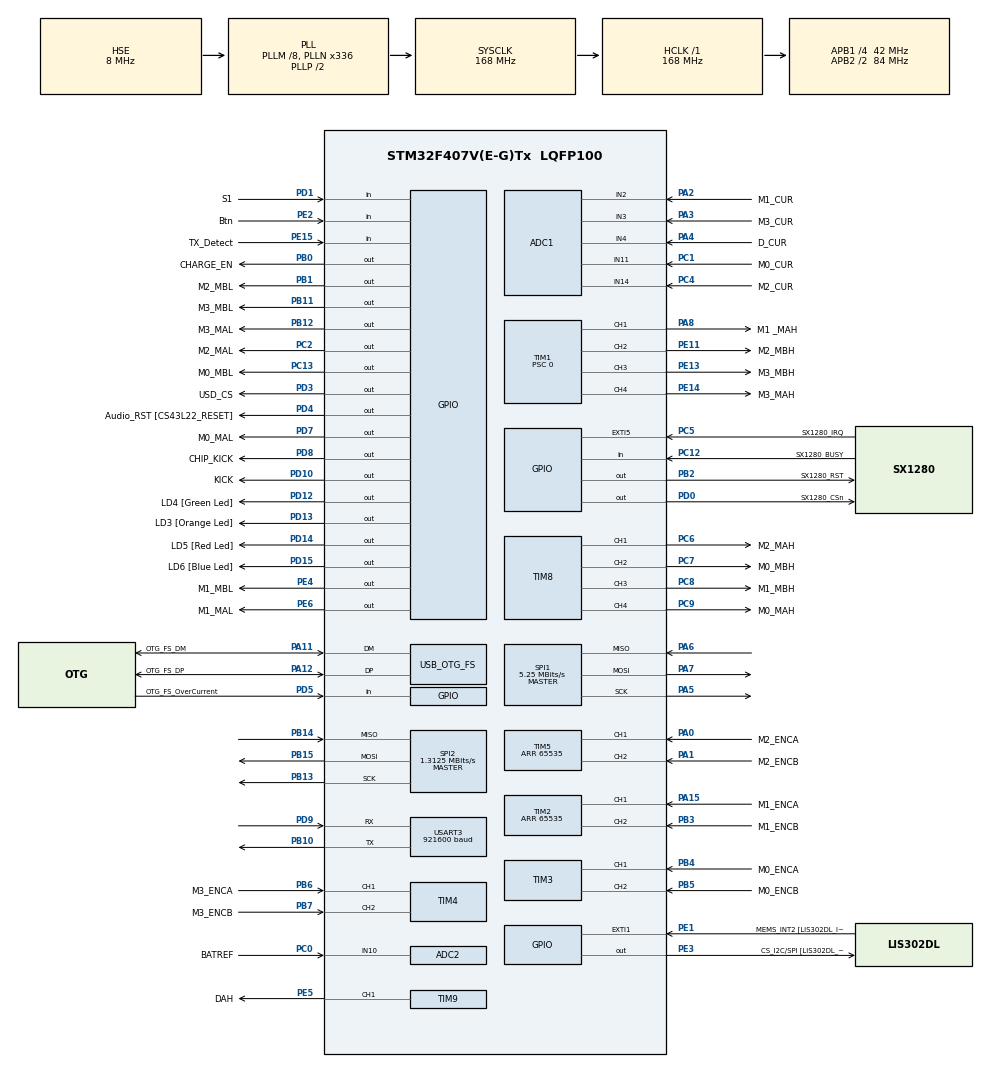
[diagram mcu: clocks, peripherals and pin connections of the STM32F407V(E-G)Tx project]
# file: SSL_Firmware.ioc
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ADC1.Channel-2\#ChannelRegularConversion=ADC_CHANNEL_11
ADC1.NbrOfConversionFlag=1
ADC1.Rank-2\#ChannelRegularConversion=1
ADC1.SamplingTime-2\#ChannelRegularConversion=ADC_SAMPLETIME_3CYCLES
ADC1.master=1
ADC2.Channel-1\#ChannelRegularConversion=ADC_CHANNEL_10
ADC2.NbrOfConversionFlag=1
ADC2.Rank-1\#ChannelRegularConversion=1
ADC2.SamplingTime-1\#ChannelRegularConversion=ADC_SAMPLETIME_3CYCLES
Dma.Request0=USART3_RX
Dma.Request1=USART3_TX
Dma.USART3_RX.0.Direction=DMA_PERIPH_TO_MEMORY
Dma.USART3_RX.0.FIFOMode=DMA_FIFOMODE_DISABLE
Dma.USART3_RX.0.Instance=DMA1_Stream1
Dma.USART3_RX.0.MemDataAlignment=DMA_MDATAALIGN_BYTE
Dma.USART3_RX.0.MemInc=DMA_MINC_ENABLE
Dma.USART3_RX.0.Mode=DMA_NORMAL
Dma.USART3_RX.0.PeriphDataAlignment=DMA_PDATAALIGN_BYTE
Dma.USART3_RX.0.PeriphInc=DMA_PINC_DISABLE
Dma.USART3_RX.0.Priority=DMA_PRIORITY_LOW
Dma.USART3_TX.1.Direction=DMA_MEMORY_TO_PERIPH
Dma.USART3_TX.1.FIFOMode=DMA_FIFOMODE_DISABLE
Dma.USART3_TX.1.Instance=DMA1_Stream3
Dma.USART3_TX.1.MemDataAlignment=DMA_MDATAALIGN_BYTE
Dma.USART3_TX.1.MemInc=DMA_MINC_ENABLE
Dma.USART3_TX.1.Mode=DMA_NORMAL
Dma.USART3_TX.1.PeriphDataAlignment=DMA_PDATAALIGN_BYTE
Dma.USART3_TX.1.PeriphInc=DMA_PINC_DISABLE
Dma.USART3_TX.1.Priority=DMA_PRIORITY_LOW
Mcu.Family=STM32F4
Mcu.Name=STM32F407V(E-G)Tx
Mcu.Package=LQFP100
NVIC.DMA1_Stream1_IRQn=true\:0\:0\:false\:false\:true\:false\:true\:true
NVIC.DMA1_Stream3_IRQn=true\:0\:0\:false\:false\:true\:false\:true\:true
NVIC.EXTI9_5_IRQn=true\:1\:0\:true\:false\:true\:true\:true\:true
NVIC.OTG_FS_IRQn=true\:1\:0\:true\:false\:true\:true\:true\:true
NVIC.PriorityGroup=NVIC_PRIORITYGROUP_4
NVIC.SPI1_IRQn=true\:0\:0\:false\:false\:true\:true\:true\:true
NVIC.TIM1_UP_TIM10_IRQn=true\:0\:0\:false\:false\:true\:true\:true\:true
NVIC.TIM6_DAC_IRQn=true\:2\:0\:true\:false\:true\:true\:true\:true
NVIC.TIM7_IRQn=true\:0\:0\:false\:false\:true\:true\:true\:true
NVIC.TIM8_TRG_COM_TIM14_IRQn=true\:0\:0\:false\:false\:true\:true\:true\:true
NVIC.USART3_IRQn=true\:0\:0\:false\:false\:true\:true\:true\:true
PA0-WKUP.GPIO_Label=M2_ENCA
PA0-WKUP.GPIO_PuPd=GPIO_PULLUP
PA0-WKUP.Signal=S_TIM5_CH1
PA1.GPIO_Label=M2_ENCB
PA1.GPIO_PuPd=GPIO_PULLUP
PA1.Signal=S_TIM5_CH2
PA10.GPIO_Label=OTG_FS_ID
PA10.GPIO_Mode=GPIO_MODE_AF_PP
PA10.GPIO_PuPd=GPIO_NOPULL
PA10.GPIO_Speed=GPIO_SPEED_FREQ_LOW
PA10.Signal=USB_OTG_FS_ID
PA11.GPIO_Label=OTG_FS_DM
PA11.GPIO_Mode=GPIO_MODE_AF_PP
PA11.GPIO_PuPd=GPIO_NOPULL
PA11.GPIO_Speed=GPIO_SPEED_FREQ_LOW
PA11.Mode=Device_Only
PA11.Signal=USB_OTG_FS_DM
PA12.GPIO_Label=OTG_FS_DP
PA12.GPIO_Mode=GPIO_MODE_AF_PP
PA12.GPIO_PuPd=GPIO_NOPULL
PA12.GPIO_Speed=GPIO_SPEED_FREQ_LOW
PA12.Mode=Device_Only
PA12.Signal=USB_OTG_FS_DP
PA13.GPIO_Label=SWDIO
PA13.Mode=Serial_Wire
PA13.Signal=SYS_JTMS-SWDIO
PA14.GPIO_Label=SWCLK
PA14.Mode=Serial_Wire
PA14.Signal=SYS_JTCK-SWCLK
PA15.GPIO_Label=M1_ENCA
PA15.GPIO_PuPd=GPIO_PULLUP
PA15.Signal=S_TIM2_CH1_ETR
PA2.GPIO_Label=M1_CUR
PA2.Signal=ADCx_IN2
PA3.GPIO_Label=M3_CUR
PA3.Signal=ADCx_IN3
PA4.GPIO_Label=D_CUR
PA4.Signal=ADCx_IN4
PA5.Mode=Full_Duplex_Master
PA5.Signal=SPI1_SCK
PA6.GPIO_PuPd=GPIO_NOPULL
PA6.Mode=Full_Duplex_Master
PA6.Signal=SPI1_MISO
PA7.Mode=Full_Duplex_Master
PA7.Signal=SPI1_MOSI
PA8.GPIO_Label=M1 _MAH
PA8.Signal=S_TIM1_CH1
PA9.GPIO_Label=VBUS_FS
PA9.GPIO_Mode=GPIO_MODE_INPUT
PA9.GPIO_PuPd=GPIO_NOPULL
PA9.Signal=USB_OTG_FS_VBUS
PB0.GPIO_Label=CHARGE_EN
PB0.GPIO_ModeDefaultOutputPP=GPIO_MODE_OUTPUT_PP
PB0.GPIO_PuPd=GPIO_NOPULL
PB0.Signal=GPIO_Output
PB1.GPIO_Label=M2_MBL
PB1.Signal=GPIO_Output
PB10.GPIO_PuPd=GPIO_NOPULL
PB10.Mode=Asynchronous
PB10.Signal=USART3_TX
PB11.GPIO_Label=M3_MBL
PB11.Signal=GPIO_Output
PB12.GPIO_Label=M3_MAL
PB12.Signal=GPIO_Output
PB13.Mode=Full_Duplex_Master
PB13.Signal=SPI2_SCK
PB14.Mode=Full_Duplex_Master
PB14.Signal=SPI2_MISO
PB15.Mode=Full_Duplex_Master
PB15.Signal=SPI2_MOSI
PB2.GPIO_Label=SX1280_RST
PB2.Signal=GPIO_Output
PB3.GPIO_Label=M1_ENCB
PB3.GPIO_PuPd=GPIO_PULLUP
PB3.Signal=S_TIM2_CH2
PB4.GPIO_Label=M0_ENCA
PB4.GPIO_PuPd=GPIO_PULLUP
PB4.Signal=S_TIM3_CH1
PB5.GPIO_Label=M0_ENCB
PB5.GPIO_PuPd=GPIO_PULLUP
PB5.Signal=S_TIM3_CH2
PB6.GPIO_Label=M3_ENCA
PB6.GPIO_PuPd=GPIO_PULLUP
PB6.Signal=S_TIM4_CH1
PB7.GPIO_Label=M3_ENCB
PB7.GPIO_PuPd=GPIO_PULLUP
PB7.Signal=S_TIM4_CH2
PC0.GPIO_Label=BATREF
PC0.Signal=ADCx_IN10
PC1.GPIO_Label=M0_CUR
PC1.Signal=ADCx_IN11
PC12.GPIO_Label=SX1280_BUSY
PC12.Signal=GPIO_Input
PC13-ANTI_TAMP.GPIO_Label=M0_MBL
PC13-ANTI_TAMP.Signal=GPIO_Output
PC14-OSC32_IN.GPIO_Label=PC14-OSC32_IN
PC14-OSC32_IN.Mode=LSE-External-Oscillator
PC14-OSC32_IN.Signal=RCC_OSC32_IN
PC15-OSC32_OUT.GPIO_Label=PC15-OSC32_OUT
PC15-OSC32_OUT.Mode=LSE-External-Oscillator
PC15-OSC32_OUT.Signal=RCC_OSC32_OUT
PC2.GPIO_Label=M2_MAL
PC2.Signal=GPIO_Output
PC4.GPIO_Label=M2_CUR
PC4.Signal=ADCx_IN14
PC5.GPIO_Label=SX1280_IRQ
PC5.GPIO_ModeDefaultEXTI=GPIO_MODE_IT_RISING
PC5.Signal=GPXTI5
PC6.GPIO_Label=M2_MAH
PC6.Signal=S_TIM8_CH1
PC7.GPIO_Label=M0_MBH
PC7.Signal=S_TIM8_CH2
PC8.GPIO_Label=M1_MBH
PC8.Signal=S_TIM8_CH3
PC9.GPIO_Label=M0_MAH
PC9.Signal=S_TIM8_CH4
PD0.GPIO_Label=SX1280_CSn
PD0.GPIO_Speed=GPIO_SPEED_FREQ_HIGH
PD0.PinState=GPIO_PIN_SET
PD0.Signal=GPIO_Output
PD1.GPIO_Label=S1
PD1.Signal=GPIO_Input
PD10.GPIO_Label=KICK
PD10.Signal=GPIO_Output
PD12.GPIO_Label=LD4 [Green Led]
PD12.GPIO_PuPd=GPIO_NOPULL
PD12.GPIO_Speed=GPIO_SPEED_FREQ_LOW
PD12.Signal=GPIO_Output
PD13.GPIO_Label=LD3 [Orange Led]
PD13.GPIO_PuPd=GPIO_NOPULL
PD13.GPIO_Speed=GPIO_SPEED_FREQ_LOW
PD13.Signal=GPIO_Output
PD14.GPIO_Label=LD5 [Red Led]
PD14.GPIO_PuPd=GPIO_NOPULL
PD14.GPIO_Speed=GPIO_SPEED_FREQ_LOW
PD14.Signal=GPIO_Output
PD15.GPIO_Label=LD6 [Blue Led]
PD15.GPIO_PuPd=GPIO_NOPULL
PD15.GPIO_Speed=GPIO_SPEED_FREQ_LOW
PD15.Signal=GPIO_Output
PD3.GPIO_Label=USD_CS
PD3.Signal=GPIO_Output
PD4.GPIO_Label=Audio_RST [CS43L22_RESET]
PD4.GPIO_PuPd=GPIO_NOPULL
PD4.GPIO_Speed=GPIO_SPEED_FREQ_LOW
PD4.Signal=GPIO_Output
PD5.GPIO_Label=OTG_FS_OverCurrent
PD5.GPIO_Mode=GPIO_MODE_INPUT
PD5.GPIO_PuPd=GPIO_NOPULL
PD5.Signal=GPIO_Input
PD7.GPIO_Label=M0_MAL
PD7.Signal=GPIO_Output
PD8.GPIO_Label=CHIP_KICK
PD8.Signal=GPIO_Output
PD9.Mode=Asynchronous
PD9.Signal=USART3_RX
PE1.GPIO_Label=MEMS_INT2 [LIS302DL_INT2]
PE1.GPIO_ModeDefaultEXTI=GPIO_MODE_EVT_RISING
PE1.GPIO_PuPd=GPIO_NOPULL
PE1.Signal=GPXTI1
PE11.GPIO_Label=M2_MBH
PE11.Signal=S_TIM1_CH2
PE13.GPIO_Label=M3_MBH
PE13.Signal=S_TIM1_CH3
PE14.GPIO_Label=M3_MAH
PE14.Signal=S_TIM1_CH4
PE15.GPIO_Label=TX_Detect
PE15.GPIO_PuPd=GPIO_PULLUP
PE15.Signal=GPIO_Input
PE2.GPIO_Label=Btn
PE2.GPIO_PuPd=GPIO_PULLUP
PE2.Signal=GPIO_Input
PE3.GPIO_Label=CS_I2C/SPI [LIS302DL_CS_I2C/SPI]
PE3.GPIO_PuPd=GPIO_NOPULL
PE3.GPIO_Speed=GPIO_SPEED_FREQ_LOW
PE3.PinState=GPIO_PIN_SET
PE3.Signal=GPIO_Output
PE4.GPIO_Label=M1_MBL
PE4.Signal=GPIO_Output
PE5.GPIO_Label=DAH
PE5.Signal=S_TIM9_CH1
PE6.GPIO_Label=M1_MAL
PE6.Signal=GPIO_Output
PH0-OSC_IN.GPIO_Label=PH0-OSC_IN
PH0-OSC_IN.Mode=HSE-External-Oscillator
PH0-OSC_IN.Signal=RCC_OSC_IN
PH1-OSC_OUT.GPIO_Label=PH1-OSC_OUT
PH1-OSC_OUT.Mode=HSE-External-Oscillator
PH1-OSC_OUT.Signal=RCC_OSC_OUT
ProjectManager.HeapSize=0x200
ProjectManager.StackSize=0x400
ProjectManager.TargetToolchain=STM32CubeIDE
RCC.48MHZClocksFreq_Value=48000000
RCC.AHBFreq_Value=168000000
RCC.APB1CLKDivider=RCC_HCLK_DIV4
RCC.APB1Freq_Value=42000000
RCC.APB1TimFreq_Value=84000000
RCC.APB2CLKDivider=RCC_HCLK_DIV2
RCC.APB2Freq_Value=84000000
RCC.APB2TimFreq_Value=168000000
RCC.CortexFreq_Value=168000000
RCC.HCLKFreq_Value=168000000
RCC.HSE_VALUE=8000000
RCC.HSI_VALUE=16000000
RCC.PLLM=8
RCC.PLLN=336
RCC.PLLQ=7
RCC.SYSCLKFreq_VALUE=168000000
RCC.SYSCLKSource=RCC_SYSCLKSOURCE_PLLCLK
RCC.VCOOutputFreq_Value=336000000
SH.ADCx_IN10.0=ADC2_IN10,IN10
SH.ADCx_IN11.0=ADC1_IN11,IN11
SH.ADCx_IN14.0=ADC1_IN14,IN14
SH.ADCx_IN2.0=ADC1_IN2,IN2
SH.ADCx_IN3.0=ADC1_IN3,IN3
SH.ADCx_IN4.0=ADC1_IN4,IN4
SH.S_TIM1_CH1.0=TIM1_CH1,PWM Generation1 CH1
SH.S_TIM1_CH2.0=TIM1_CH2,PWM Generation2 CH2
SH.S_TIM1_CH3.0=TIM1_CH3,PWM Generation3 CH3
SH.S_TIM1_CH4.0=TIM1_CH4,PWM Generation4 CH4
SH.S_TIM2_CH1_ETR.0=TIM2_CH1,Encoder_Interface
SH.S_TIM2_CH2.0=TIM2_CH2,Encoder_Interface
SH.S_TIM3_CH1.0=TIM3_CH1,Encoder_Interface
SH.S_TIM3_CH2.0=TIM3_CH2,Encoder_Interface
SH.S_TIM4_CH1.0=TIM4_CH1,Encoder_Interface
SH.S_TIM4_CH2.0=TIM4_CH2,Encoder_Interface
SH.S_TIM5_CH1.0=TIM5_CH1,Encoder_Interface
SH.S_TIM5_CH2.0=TIM5_CH2,Encoder_Interface
SH.S_TIM8_CH1.0=TIM8_CH1,PWM Generation1 CH1
SH.S_TIM8_CH2.0=TIM8_CH2,PWM Generation2 CH2
SH.S_TIM8_CH3.0=TIM8_CH3,PWM Generation3 CH3
SH.S_TIM8_CH4.0=TIM8_CH4,PWM Generation4 CH4
SH.S_TIM9_CH1.0=TIM9_CH1,PWM Generation1 CH1
SPI1.BaudRatePrescaler=SPI_BAUDRATEPRESCALER_16
SPI1.CalculateBaudRate=5.25 MBits/s
SPI1.Direction=SPI_DIRECTION_2LINES
SPI1.Mode=SPI_MODE_MASTER
SPI1.VirtualType=VM_MASTER
SPI2.BaudRatePrescaler=SPI_BAUDRATEPRESCALER_32
SPI2.CalculateBaudRate=1.3125 MBits/s
SPI2.Direction=SPI_DIRECTION_2LINES
SPI2.Mode=SPI_MODE_MASTER
SPI2.VirtualType=VM_MASTER
TIM1.Channel-PWM\ Generation1\ CH1=TIM_CHANNEL_1
TIM1.Channel-PWM\ Generation2\ CH2=TIM_CHANNEL_2
TIM1.Channel-PWM\ Generation3\ CH3=TIM_CHANNEL_3
TIM1.Channel-PWM\ Generation4\ CH4=TIM_CHANNEL_4
TIM1.Prescaler=0
TIM1.Pulse-PWM\ Generation1\ CH1=65535
TIM1.Pulse-PWM\ Generation2\ CH2=65535
TIM1.Pulse-PWM\ Generation3\ CH3=65535
TIM1.Pulse-PWM\ Generation4\ CH4=65535
TIM10.Period=30000-1
TIM10.Prescaler=50400-1
TIM14.Period=10000-1
TIM14.Prescaler=8400-1
TIM2.AutoReloadPreload=TIM_AUTORELOAD_PRELOAD_ENABLE
TIM2.EncoderMode=TIM_ENCODERMODE_TI12
TIM2.Period=65535
TIM3.AutoReloadPreload=TIM_AUTORELOAD_PRELOAD_ENABLE
TIM3.EncoderMode=TIM_ENCODERMODE_TI12
TIM3.IC1Filter=10
TIM3.IC2Filter=10
TIM4.AutoReloadPreload=TIM_AUTORELOAD_PRELOAD_ENABLE
TIM4.EncoderMode=TIM_ENCODERMODE_TI12
TIM5.AutoReloadPreload=TIM_AUTORELOAD_PRELOAD_ENABLE
TIM5.EncoderMode=TIM_ENCODERMODE_TI12
TIM5.Period=65535
TIM6.AutoReloadPreload=TIM_AUTORELOAD_PRELOAD_ENABLE
TIM6.Period=99
TIM6.Prescaler=8399
TIM6.TIM_MasterOutputTrigger=TIM_TRGO_RESET
TIM7.Period=1000-1
TIM7.Prescaler=8400-1
TIM8.Channel-PWM\ Generation1\ CH1=TIM_CHANNEL_1
TIM8.Channel-PWM\ Generation2\ CH2=TIM_CHANNEL_2
TIM8.Channel-PWM\ Generation3\ CH3=TIM_CHANNEL_3
TIM8.Channel-PWM\ Generation4\ CH4=TIM_CHANNEL_4
TIM8.Pulse-PWM\ Generation1\ CH1=65535
TIM8.Pulse-PWM\ Generation2\ CH2=65535
TIM8.Pulse-PWM\ Generation3\ CH3=65535
TIM8.Pulse-PWM\ Generation4\ CH4=65535
TIM9.Channel-PWM\ Generation1\ CH1=TIM_CHANNEL_1
TIM9.Pulse-PWM\ Generation1\ CH1=65535
USART3.BaudRate=921600
USART3.VirtualMode=VM_ASYNC
USB_DEVICE.CLASS_NAME_FS=CDC
USB_DEVICE.VirtualMode-CDC_FS=Cdc
USB_DEVICE.VirtualModeFS=Cdc_FS
USB_OTG_FS.VirtualMode=Device_Only
VP_TIM10_VS_ClockSourceINT.Mode=Enable_Timer
VP_TIM14_VS_ClockSourceINT.Mode=Enable_Timer
VP_TIM6_VS_ClockSourceINT.Mode=Enable_Timer
VP_TIM7_VS_ClockSourceINT.Mode=Enable_Timer
VP_USB_DEVICE_VS_USB_DEVICE_CDC_FS.Mode=CDC_FS
board=STM32F407G-DISC1

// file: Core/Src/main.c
/* USER CODE BEGIN Header */
/**
  ******************************************************************************
  * @file           : main.c
  * @brief          : Main program body
  ******************************************************************************
  * @attention
  *
  * <h2><center>&copy; Copyright (c) 2021 STMicroelectronics.
  * All rights reserved.</center></h2>
  *
  * This software component is licensed by ST under Ultimate Liberty license
  * SLA0044, the "License"; You may not use this file except in compliance with
  * the License. You may obtain a copy of the License at:
  *                             www.st.com/SLA0044
  *
  ******************************************************************************
  */
/* USER CODE END Header */
#include "main.h"
#include "usb_device.h"

/* USER CODE BEGIN Includes */
#include "Components/Start.hpp"
/* USER CODE END Includes */

 ADC_HandleTypeDef hadc1;
ADC_HandleTypeDef hadc2;

SPI_HandleTypeDef hspi1;
SPI_HandleTypeDef hspi2;

TIM_HandleTypeDef htim1;
TIM_HandleTypeDef htim2;
TIM_HandleTypeDef htim3;
TIM_HandleTypeDef htim4;
TIM_HandleTypeDef htim5;
TIM_HandleTypeDef htim6;
TIM_HandleTypeDef htim7;
TIM_HandleTypeDef htim8;
TIM_HandleTypeDef htim9;
TIM_HandleTypeDef htim10;
TIM_HandleTypeDef htim14;

UART_HandleTypeDef huart3;
DMA_HandleTypeDef hdma_usart3_rx;
DMA_HandleTypeDef hdma_usart3_tx;

void SystemClock_Config(void);
static void MX_GPIO_Init(void);
static void MX_DMA_Init(void);
static void MX_TIM1_Init(void);
static void MX_TIM8_Init(void);
static void MX_TIM9_Init(void);
static void MX_TIM2_Init(void);
static void MX_TIM3_Init(void);
static void MX_TIM4_Init(void);
static void MX_TIM5_Init(void);
static void MX_TIM6_Init(void);
static void MX_USART3_UART_Init(void);
static void MX_SPI1_Init(void);
static void MX_SPI2_Init(void);
static void MX_ADC1_Init(void);
static void MX_TIM7_Init(void);
static void MX_TIM10_Init(void);
static void MX_TIM14_Init(void);
static void MX_ADC2_Init(void);

int main(void)
{

  /* MCU Configuration--------------------------------------------------------*/

  /* Reset of all peripherals, Initializes the Flash interface and the Systick. */
  HAL_Init();

  /* Configure the system clock */
  SystemClock_Config();

  /* USER CODE BEGIN SysInit */
  //DWT register
  CoreDebug->DEMCR |= CoreDebug_DEMCR_TRCENA_Msk;
  DWT->CYCCNT = 0;
  DWT->CTRL |= DWT_CTRL_CYCCNTENA_Msk;
  /* USER CODE END SysInit */

  /* Initialize all configured peripherals */
  MX_GPIO_Init();
  MX_DMA_Init();
  MX_TIM1_Init();
  MX_USB_DEVICE_Init();
  MX_TIM8_Init();
  MX_TIM9_Init();
  MX_TIM2_Init();
  MX_TIM3_Init();
  MX_TIM4_Init();
  MX_TIM5_Init();
  MX_TIM6_Init();
  MX_USART3_UART_Init();
  MX_SPI1_Init();
  MX_SPI2_Init();
  MX_ADC1_Init();
  MX_TIM7_Init();
  MX_TIM10_Init();
  MX_TIM14_Init();
  MX_ADC2_Init();
  /* USER CODE BEGIN 2 */
  HAL_TIM_Base_Start_IT(&htim1);
  HAL_TIM_PWM_Start_IT(&htim1,TIM_CHANNEL_1);
  HAL_TIM_PWM_Start_IT(&htim1,TIM_CHANNEL_2);
  HAL_TIM_PWM_Start_IT(&htim1,TIM_CHANNEL_3);
  HAL_TIM_PWM_Start_IT(&htim1,TIM_CHANNEL_4);
  HAL_TIM_Encoder_Start_IT(&htim2, TIM_CHANNEL_ALL);
  HAL_TIM_Encoder_Start_IT(&htim3, TIM_CHANNEL_ALL);
  HAL_TIM_Encoder_Start_IT(&htim4, TIM_CHANNEL_ALL);
  HAL_TIM_Encoder_Start_IT(&htim5, TIM_CHANNEL_ALL);
  HAL_TIM_Base_Start_IT(&htim6);
  HAL_TIM_Base_Start_IT(&htim7);
  HAL_TIM_Base_Start_IT(&htim10);
  HAL_TIM_Base_Start_IT(&htim14);
  HAL_TIM_Base_Start_IT(&htim8);
  HAL_TIM_PWM_Start_IT(&htim8,TIM_CHANNEL_1);
  HAL_TIM_PWM_Start_IT(&htim8,TIM_CHANNEL_2);
  HAL_TIM_PWM_Start_IT(&htim8,TIM_CHANNEL_3);
  HAL_TIM_PWM_Start_IT(&htim8,TIM_CHANNEL_4);
  HAL_TIM_Base_Start_IT(&htim9);
  HAL_TIM_PWM_Start_IT(&htim9,TIM_CHANNEL_1);
  //HAL_ADC_Start(&hadc1);

  /*TIM1->CCR1 = 65535;
  TIM1->CCR2 = 65535;
  TIM1->CCR3 = 65535;
  TIM1->CCR4 = 65535;
  TIM8->CCR1 = 65535;
  TIM8->CCR2 = 65535;
  TIM8->CCR3 = 65535;
  TIM8->CCR4 = 65535;*/
  HAL_Delay(100);

  /* USER CODE END 2 */

  /* Infinite loop */
  /* USER CODE BEGIN WHILE */
  Start();
  while (1)
  {

    /* USER CODE END WHILE */

  }
}

void SystemClock_Config(void)
{
  RCC_OscInitTypeDef RCC_OscInitStruct = {0};
  RCC_ClkInitTypeDef RCC_ClkInitStruct = {0};

  /** Configure the main internal regulator output voltage
  */
  __HAL_RCC_PWR_CLK_ENABLE();
  __HAL_PWR_VOLTAGESCALING_CONFIG(PWR_REGULATOR_VOLTAGE_SCALE1);

  /** Initializes the RCC Oscillators according to the specified parameters
  * in the RCC_OscInitTypeDef structure.
  */
  RCC_OscInitStruct.OscillatorType = RCC_OSCILLATORTYPE_HSE;
  RCC_OscInitStruct.HSEState = RCC_HSE_ON;
  RCC_OscInitStruct.PLL.PLLState = RCC_PLL_ON;
  RCC_OscInitStruct.PLL.PLLSource = RCC_PLLSOURCE_HSE;
  RCC_OscInitStruct.PLL.PLLM = 8;
  RCC_OscInitStruct.PLL.PLLN = 336;
  RCC_OscInitStruct.PLL.PLLP = RCC_PLLP_DIV2;
  RCC_OscInitStruct.PLL.PLLQ = 7;
  if (HAL_RCC_OscConfig(&RCC_OscInitStruct) != HAL_OK)
  {
    Error_Handler();
  }

  /** Initializes the CPU, AHB and APB buses clocks
  */
  RCC_ClkInitStruct.ClockType = RCC_CLOCKTYPE_HCLK|RCC_CLOCKTYPE_SYSCLK
                              |RCC_CLOCKTYPE_PCLK1|RCC_CLOCKTYPE_PCLK2;
  RCC_ClkInitStruct.SYSCLKSource = RCC_SYSCLKSOURCE_PLLCLK;
  RCC_ClkInitStruct.AHBCLKDivider = RCC_SYSCLK_DIV1;
  RCC_ClkInitStruct.APB1CLKDivider = RCC_HCLK_DIV4;
  RCC_ClkInitStruct.APB2CLKDivider = RCC_HCLK_DIV2;

  if (HAL_RCC_ClockConfig(&RCC_ClkInitStruct, FLASH_LATENCY_5) != HAL_OK)
  {
    Error_Handler();
  }
}

static void MX_ADC1_Init(void)
{

  ADC_ChannelConfTypeDef sConfig = {0};

  /** Configure the global features of the ADC (Clock, Resolution, Data Alignment and number of conversion)
  */
  hadc1.Instance = ADC1;
  hadc1.Init.ClockPrescaler = ADC_CLOCK_SYNC_PCLK_DIV4;
  hadc1.Init.Resolution = ADC_RESOLUTION_12B;
  hadc1.Init.ScanConvMode = DISABLE;
  hadc1.Init.ContinuousConvMode = DISABLE;
  hadc1.Init.DiscontinuousConvMode = DISABLE;
  hadc1.Init.ExternalTrigConvEdge = ADC_EXTERNALTRIGCONVEDGE_NONE;
  hadc1.Init.ExternalTrigConv = ADC_SOFTWARE_START;
  hadc1.Init.DataAlign = ADC_DATAALIGN_RIGHT;
  hadc1.Init.NbrOfConversion = 1;
  hadc1.Init.DMAContinuousRequests = DISABLE;
  hadc1.Init.EOCSelection = ADC_EOC_SINGLE_CONV;
  if (HAL_ADC_Init(&hadc1) != HAL_OK)
  {
    Error_Handler();
  }

  /** Configure for the selected ADC regular channel its corresponding rank in the sequencer and its sample time.
  */
  sConfig.Channel = ADC_CHANNEL_11;
  sConfig.Rank = 1;
  sConfig.SamplingTime = ADC_SAMPLETIME_3CYCLES;
  if (HAL_ADC_ConfigChannel(&hadc1, &sConfig) != HAL_OK)
  {
    Error_Handler();
  }

}

static void MX_ADC2_Init(void)
{

  ADC_ChannelConfTypeDef sConfig = {0};

  /** Configure the global features of the ADC (Clock, Resolution, Data Alignment and number of conversion)
  */
  hadc2.Instance = ADC2;
  hadc2.Init.ClockPrescaler = ADC_CLOCK_SYNC_PCLK_DIV4;
  hadc2.Init.Resolution = ADC_RESOLUTION_12B;
  hadc2.Init.ScanConvMode = DISABLE;
  hadc2.Init.ContinuousConvMode = DISABLE;
  hadc2.Init.DiscontinuousConvMode = DISABLE;
  hadc2.Init.ExternalTrigConvEdge = ADC_EXTERNALTRIGCONVEDGE_NONE;
  hadc2.Init.ExternalTrigConv = ADC_SOFTWARE_START;
  hadc2.Init.DataAlign = ADC_DATAALIGN_RIGHT;
  hadc2.Init.NbrOfConversion = 1;
  hadc2.Init.DMAContinuousRequests = DISABLE;
  hadc2.Init.EOCSelection = ADC_EOC_SINGLE_CONV;
  if (HAL_ADC_Init(&hadc2) != HAL_OK)
  {
    Error_Handler();
  }

  /** Configure for the selected ADC regular channel its corresponding rank in the sequencer and its sample time.
  */
  sConfig.Channel = ADC_CHANNEL_10;
  sConfig.Rank = 1;
  sConfig.SamplingTime = ADC_SAMPLETIME_3CYCLES;
  if (HAL_ADC_ConfigChannel(&hadc2, &sConfig) != HAL_OK)
  {
    Error_Handler();
  }

}

static void MX_SPI1_Init(void)
{

  /* SPI1 parameter configuration*/
  hspi1.Instance = SPI1;
  hspi1.Init.Mode = SPI_MODE_MASTER;
  hspi1.Init.Direction = SPI_DIRECTION_2LINES;
  hspi1.Init.DataSize = SPI_DATASIZE_8BIT;
  hspi1.Init.CLKPolarity = SPI_POLARITY_LOW;
  hspi1.Init.CLKPhase = SPI_PHASE_1EDGE;
  hspi1.Init.NSS = SPI_NSS_SOFT;
  hspi1.Init.BaudRatePrescaler = SPI_BAUDRATEPRESCALER_16;
  hspi1.Init.FirstBit = SPI_FIRSTBIT_MSB;
  hspi1.Init.TIMode = SPI_TIMODE_DISABLE;
  hspi1.Init.CRCCalculation = SPI_CRCCALCULATION_DISABLE;
  hspi1.Init.CRCPolynomial = 10;
  if (HAL_SPI_Init(&hspi1) != HAL_OK)
  {
    Error_Handler();
  }

}

static void MX_SPI2_Init(void)
{

  /* SPI2 parameter configuration*/
  hspi2.Instance = SPI2;
  hspi2.Init.Mode = SPI_MODE_MASTER;
  hspi2.Init.Direction = SPI_DIRECTION_2LINES;
  hspi2.Init.DataSize = SPI_DATASIZE_8BIT;
  hspi2.Init.CLKPolarity = SPI_POLARITY_LOW;
  hspi2.Init.CLKPhase = SPI_PHASE_1EDGE;
  hspi2.Init.NSS = SPI_NSS_SOFT;
  hspi2.Init.BaudRatePrescaler = SPI_BAUDRATEPRESCALER_32;
  hspi2.Init.FirstBit = SPI_FIRSTBIT_MSB;
  hspi2.Init.TIMode = SPI_TIMODE_DISABLE;
  hspi2.Init.CRCCalculation = SPI_CRCCALCULATION_DISABLE;
  hspi2.Init.CRCPolynomial = 10;
  if (HAL_SPI_Init(&hspi2) != HAL_OK)
  {
    Error_Handler();
  }

}

static void MX_TIM1_Init(void)
{

  TIM_MasterConfigTypeDef sMasterConfig = {0};
  TIM_OC_InitTypeDef sConfigOC = {0};
  TIM_BreakDeadTimeConfigTypeDef sBreakDeadTimeConfig = {0};

  htim1.Instance = TIM1;
  htim1.Init.Prescaler = 0;
  htim1.Init.CounterMode = TIM_COUNTERMODE_UP;
  htim1.Init.Period = 65535;
  htim1.Init.ClockDivision = TIM_CLOCKDIVISION_DIV1;
  htim1.Init.RepetitionCounter = 0;
  htim1.Init.AutoReloadPreload = TIM_AUTORELOAD_PRELOAD_DISABLE;
  if (HAL_TIM_PWM_Init(&htim1) != HAL_OK)
  {
    Error_Handler();
  }
  sMasterConfig.MasterOutputTrigger = TIM_TRGO_RESET;
  sMasterConfig.MasterSlaveMode = TIM_MASTERSLAVEMODE_DISABLE;
  if (HAL_TIMEx_MasterConfigSynchronization(&htim1, &sMasterConfig) != HAL_OK)
  {
    Error_Handler();
  }
  sConfigOC.OCMode = TIM_OCMODE_PWM1;
  sConfigOC.Pulse = 65535;
  sConfigOC.OCPolarity = TIM_OCPOLARITY_HIGH;
  sConfigOC.OCNPolarity = TIM_OCNPOLARITY_HIGH;
  sConfigOC.OCFastMode = TIM_OCFAST_DISABLE;
  sConfigOC.OCIdleState = TIM_OCIDLESTATE_RESET;
  sConfigOC.OCNIdleState = TIM_OCNIDLESTATE_RESET;
  if (HAL_TIM_PWM_ConfigChannel(&htim1, &sConfigOC, TIM_CHANNEL_1) != HAL_OK)
  {
    Error_Handler();
  }
  if (HAL_TIM_PWM_ConfigChannel(&htim1, &sConfigOC, TIM_CHANNEL_2) != HAL_OK)
  {
    Error_Handler();
  }
  if (HAL_TIM_PWM_ConfigChannel(&htim1, &sConfigOC, TIM_CHANNEL_3) != HAL_OK)
  {
    Error_Handler();
  }
  if (HAL_TIM_PWM_ConfigChannel(&htim1, &sConfigOC, TIM_CHANNEL_4) != HAL_OK)
  {
    Error_Handler();
  }
  sBreakDeadTimeConfig.OffStateRunMode = TIM_OSSR_DISABLE;
  sBreakDeadTimeConfig.OffStateIDLEMode = TIM_OSSI_DISABLE;
  sBreakDeadTimeConfig.LockLevel = TIM_LOCKLEVEL_OFF;
  sBreakDeadTimeConfig.DeadTime = 0;
  sBreakDeadTimeConfig.BreakState = TIM_BREAK_DISABLE;
  sBreakDeadTimeConfig.BreakPolarity = TIM_BREAKPOLARITY_HIGH;
  sBreakDeadTimeConfig.AutomaticOutput = TIM_AUTOMATICOUTPUT_DISABLE;
  if (HAL_TIMEx_ConfigBreakDeadTime(&htim1, &sBreakDeadTimeConfig) != HAL_OK)
  {
    Error_Handler();
  }
  HAL_TIM_MspPostInit(&htim1);

}

static void MX_TIM2_Init(void)
{

  TIM_Encoder_InitTypeDef sConfig = {0};
  TIM_MasterConfigTypeDef sMasterConfig = {0};

  htim2.Instance = TIM2;
  htim2.Init.Prescaler = 0;
  htim2.Init.CounterMode = TIM_COUNTERMODE_UP;
  htim2.Init.Period = 65535;
  htim2.Init.ClockDivision = TIM_CLOCKDIVISION_DIV1;
  htim2.Init.AutoReloadPreload = TIM_AUTORELOAD_PRELOAD_ENABLE;
  sConfig.EncoderMode = TIM_ENCODERMODE_TI12;
  sConfig.IC1Polarity = TIM_ICPOLARITY_RISING;
  sConfig.IC1Selection = TIM_ICSELECTION_DIRECTTI;
  sConfig.IC1Prescaler = TIM_ICPSC_DIV1;
  sConfig.IC1Filter = 0;
  sConfig.IC2Polarity = TIM_ICPOLARITY_RISING;
  sConfig.IC2Selection = TIM_ICSELECTION_DIRECTTI;
  sConfig.IC2Prescaler = TIM_ICPSC_DIV1;
  sConfig.IC2Filter = 0;
  if (HAL_TIM_Encoder_Init(&htim2, &sConfig) != HAL_OK)
  {
    Error_Handler();
  }
  sMasterConfig.MasterOutputTrigger = TIM_TRGO_RESET;
  sMasterConfig.MasterSlaveMode = TIM_MASTERSLAVEMODE_DISABLE;
  if (HAL_TIMEx_MasterConfigSynchronization(&htim2, &sMasterConfig) != HAL_OK)
  {
    Error_Handler();
  }

}

static void MX_TIM3_Init(void)
{

  TIM_Encoder_InitTypeDef sConfig = {0};
  TIM_MasterConfigTypeDef sMasterConfig = {0};

  htim3.Instance = TIM3;
  htim3.Init.Prescaler = 0;
  htim3.Init.CounterMode = TIM_COUNTERMODE_UP;
  htim3.Init.Period = 65535;
  htim3.Init.ClockDivision = TIM_CLOCKDIVISION_DIV1;
  htim3.Init.AutoReloadPreload = TIM_AUTORELOAD_PRELOAD_ENABLE;
  sConfig.EncoderMode = TIM_ENCODERMODE_TI12;
  sConfig.IC1Polarity = TIM_ICPOLARITY_RISING;
  sConfig.IC1Selection = TIM_ICSELECTION_DIRECTTI;
  sConfig.IC1Prescaler = TIM_ICPSC_DIV1;
  sConfig.IC1Filter = 10;
  sConfig.IC2Polarity = TIM_ICPOLARITY_RISING;
  sConfig.IC2Selection = TIM_ICSELECTION_DIRECTTI;
  sConfig.IC2Prescaler = TIM_ICPSC_DIV1;
  sConfig.IC2Filter = 10;
  if (HAL_TIM_Encoder_Init(&htim3, &sConfig) != HAL_OK)
  {
    Error_Handler();
  }
  sMasterConfig.MasterOutputTrigger = TIM_TRGO_RESET;
  sMasterConfig.MasterSlaveMode = TIM_MASTERSLAVEMODE_DISABLE;
  if (HAL_TIMEx_MasterConfigSynchronization(&htim3, &sMasterConfig) != HAL_OK)
  {
    Error_Handler();
  }

}

static void MX_TIM4_Init(void)
{

  TIM_Encoder_InitTypeDef sConfig = {0};
  TIM_MasterConfigTypeDef sMasterConfig = {0};

  htim4.Instance = TIM4;
  htim4.Init.Prescaler = 0;
  htim4.Init.CounterMode = TIM_COUNTERMODE_UP;
  htim4.Init.Period = 65535;
  htim4.Init.ClockDivision = TIM_CLOCKDIVISION_DIV1;
  htim4.Init.AutoReloadPreload = TIM_AUTORELOAD_PRELOAD_ENABLE;
  sConfig.EncoderMode = TIM_ENCODERMODE_TI12;
  sConfig.IC1Polarity = TIM_ICPOLARITY_RISING;
  sConfig.IC1Selection = TIM_ICSELECTION_DIRECTTI;
  sConfig.IC1Prescaler = TIM_ICPSC_DIV1;
  sConfig.IC1Filter = 0;
  sConfig.IC2Polarity = TIM_ICPOLARITY_RISING;
  sConfig.IC2Selection = TIM_ICSELECTION_DIRECTTI;
  sConfig.IC2Prescaler = TIM_ICPSC_DIV1;
  sConfig.IC2Filter = 0;
  if (HAL_TIM_Encoder_Init(&htim4, &sConfig) != HAL_OK)
  {
    Error_Handler();
  }
  sMasterConfig.MasterOutputTrigger = TIM_TRGO_RESET;
  sMasterConfig.MasterSlaveMode = TIM_MASTERSLAVEMODE_DISABLE;
  if (HAL_TIMEx_MasterConfigSynchronization(&htim4, &sMasterConfig) != HAL_OK)
  {
    Error_Handler();
  }

}

static void MX_TIM5_Init(void)
{

  TIM_Encoder_InitTypeDef sConfig = {0};
  TIM_MasterConfigTypeDef sMasterConfig = {0};

  htim5.Instance = TIM5;
  htim5.Init.Prescaler = 0;
  htim5.Init.CounterMode = TIM_COUNTERMODE_UP;
  htim5.Init.Period = 65535;
  htim5.Init.ClockDivision = TIM_CLOCKDIVISION_DIV1;
  htim5.Init.AutoReloadPreload = TIM_AUTORELOAD_PRELOAD_ENABLE;
  sConfig.EncoderMode = TIM_ENCODERMODE_TI12;
  sConfig.IC1Polarity = TIM_ICPOLARITY_RISING;
  sConfig.IC1Selection = TIM_ICSELECTION_DIRECTTI;
  sConfig.IC1Prescaler = TIM_ICPSC_DIV1;
  sConfig.IC1Filter = 0;
  sConfig.IC2Polarity = TIM_ICPOLARITY_RISING;
  sConfig.IC2Selection = TIM_ICSELECTION_DIRECTTI;
  sConfig.IC2Prescaler = TIM_ICPSC_DIV1;
  sConfig.IC2Filter = 0;
  if (HAL_TIM_Encoder_Init(&htim5, &sConfig) != HAL_OK)
  {
    Error_Handler();
  }
  sMasterConfig.MasterOutputTrigger = TIM_TRGO_RESET;
  sMasterConfig.MasterSlaveMode = TIM_MASTERSLAVEMODE_DISABLE;
  if (HAL_TIMEx_MasterConfigSynchronization(&htim5, &sMasterConfig) != HAL_OK)
  {
    Error_Handler();
  }

}

static void MX_TIM6_Init(void)
{

  TIM_MasterConfigTypeDef sMasterConfig = {0};

  htim6.Instance = TIM6;
  htim6.Init.Prescaler = 8399;
  htim6.Init.CounterMode = TIM_COUNTERMODE_UP;
  htim6.Init.Period = 99;
  htim6.Init.AutoReloadPreload = TIM_AUTORELOAD_PRELOAD_ENABLE;
  if (HAL_TIM_Base_Init(&htim6) != HAL_OK)
  {
    Error_Handler();
  }
  sMasterConfig.MasterOutputTrigger = TIM_TRGO_RESET;
  sMasterConfig.MasterSlaveMode = TIM_MASTERSLAVEMODE_DISABLE;
  if (HAL_TIMEx_MasterConfigSynchronization(&htim6, &sMasterConfig) != HAL_OK)
  {
    Error_Handler();
  }

}

static void MX_TIM7_Init(void)
{

  TIM_MasterConfigTypeDef sMasterConfig = {0};

  htim7.Instance = TIM7;
  htim7.Init.Prescaler = 8400-1;
  htim7.Init.CounterMode = TIM_COUNTERMODE_UP;
  htim7.Init.Period = 1000-1;
  htim7.Init.AutoReloadPreload = TIM_AUTORELOAD_PRELOAD_DISABLE;
  if (HAL_TIM_Base_Init(&htim7) != HAL_OK)
  {
    Error_Handler();
  }
  sMasterConfig.MasterOutputTrigger = TIM_TRGO_RESET;
  sMasterConfig.MasterSlaveMode = TIM_MASTERSLAVEMODE_DISABLE;
  if (HAL_TIMEx_MasterConfigSynchronization(&htim7, &sMasterConfig) != HAL_OK)
  {
    Error_Handler();
  }

}

static void MX_TIM8_Init(void)
{

  TIM_MasterConfigTypeDef sMasterConfig = {0};
  TIM_OC_InitTypeDef sConfigOC = {0};
  TIM_BreakDeadTimeConfigTypeDef sBreakDeadTimeConfig = {0};

  htim8.Instance = TIM8;
  htim8.Init.Prescaler = 0;
  htim8.Init.CounterMode = TIM_COUNTERMODE_UP;
  htim8.Init.Period = 65535;
  htim8.Init.ClockDivision = TIM_CLOCKDIVISION_DIV1;
  htim8.Init.RepetitionCounter = 0;
  htim8.Init.AutoReloadPreload = TIM_AUTORELOAD_PRELOAD_DISABLE;
  if (HAL_TIM_PWM_Init(&htim8) != HAL_OK)
  {
    Error_Handler();
  }
  sMasterConfig.MasterOutputTrigger = TIM_TRGO_RESET;
  sMasterConfig.MasterSlaveMode = TIM_MASTERSLAVEMODE_DISABLE;
  if (HAL_TIMEx_MasterConfigSynchronization(&htim8, &sMasterConfig) != HAL_OK)
  {
    Error_Handler();
  }
  sConfigOC.OCMode = TIM_OCMODE_PWM1;
  sConfigOC.Pulse = 65535;
  sConfigOC.OCPolarity = TIM_OCPOLARITY_HIGH;
  sConfigOC.OCNPolarity = TIM_OCNPOLARITY_HIGH;
  sConfigOC.OCFastMode = TIM_OCFAST_DISABLE;
  sConfigOC.OCIdleState = TIM_OCIDLESTATE_RESET;
  sConfigOC.OCNIdleState = TIM_OCNIDLESTATE_RESET;
  if (HAL_TIM_PWM_ConfigChannel(&htim8, &sConfigOC, TIM_CHANNEL_1) != HAL_OK)
  {
    Error_Handler();
  }
  if (HAL_TIM_PWM_ConfigChannel(&htim8, &sConfigOC, TIM_CHANNEL_2) != HAL_OK)
  {
    Error_Handler();
  }
  if (HAL_TIM_PWM_ConfigChannel(&htim8, &sConfigOC, TIM_CHANNEL_3) != HAL_OK)
  {
    Error_Handler();
  }
  if (HAL_TIM_PWM_ConfigChannel(&htim8, &sConfigOC, TIM_CHANNEL_4) != HAL_OK)
  {
    Error_Handler();
  }
  sBreakDeadTimeConfig.OffStateRunMode = TIM_OSSR_DISABLE;
  sBreakDeadTimeConfig.OffStateIDLEMode = TIM_OSSI_DISABLE;
  sBreakDeadTimeConfig.LockLevel = TIM_LOCKLEVEL_OFF;
  sBreakDeadTimeConfig.DeadTime = 0;
  sBreakDeadTimeConfig.BreakState = TIM_BREAK_DISABLE;
  sBreakDeadTimeConfig.BreakPolarity = TIM_BREAKPOLARITY_HIGH;
  sBreakDeadTimeConfig.AutomaticOutput = TIM_AUTOMATICOUTPUT_DISABLE;
  if (HAL_TIMEx_ConfigBreakDeadTime(&htim8, &sBreakDeadTimeConfig) != HAL_OK)
  {
    Error_Handler();
  }
  HAL_TIM_MspPostInit(&htim8);

}

static void MX_TIM9_Init(void)
{

  TIM_OC_InitTypeDef sConfigOC = {0};

  htim9.Instance = TIM9;
  htim9.Init.Prescaler = 0;
  htim9.Init.CounterMode = TIM_COUNTERMODE_UP;
  htim9.Init.Period = 65535;
  htim9.Init.ClockDivision = TIM_CLOCKDIVISION_DIV1;
  htim9.Init.AutoReloadPreload = TIM_AUTORELOAD_PRELOAD_DISABLE;
  if (HAL_TIM_PWM_Init(&htim9) != HAL_OK)
  {
    Error_Handler();
  }
  sConfigOC.OCMode = TIM_OCMODE_PWM1;
  sConfigOC.Pulse = 65535;
  sConfigOC.OCPolarity = TIM_OCPOLARITY_HIGH;
  sConfigOC.OCFastMode = TIM_OCFAST_DISABLE;
  if (HAL_TIM_PWM_ConfigChannel(&htim9, &sConfigOC, TIM_CHANNEL_1) != HAL_OK)
  {
    Error_Handler();
  }
  HAL_TIM_MspPostInit(&htim9);

}

static void MX_TIM10_Init(void)
{

  htim10.Instance = TIM10;
  htim10.Init.Prescaler = 50400-1;
  htim10.Init.CounterMode = TIM_COUNTERMODE_UP;
  htim10.Init.Period = 30000-1;
  htim10.Init.ClockDivision = TIM_CLOCKDIVISION_DIV1;
  htim10.Init.AutoReloadPreload = TIM_AUTORELOAD_PRELOAD_DISABLE;
  if (HAL_TIM_Base_Init(&htim10) != HAL_OK)
  {
    Error_Handler();
  }

}

static void MX_TIM14_Init(void)
{

  htim14.Instance = TIM14;
  htim14.Init.Prescaler = 8400-1;
  htim14.Init.CounterMode = TIM_COUNTERMODE_UP;
  htim14.Init.Period = 10000-1;
  htim14.Init.ClockDivision = TIM_CLOCKDIVISION_DIV1;
  htim14.Init.AutoReloadPreload = TIM_AUTORELOAD_PRELOAD_DISABLE;
  if (HAL_TIM_Base_Init(&htim14) != HAL_OK)
  {
    Error_Handler();
  }

}

static void MX_USART3_UART_Init(void)
{

  huart3.Instance = USART3;
  huart3.Init.BaudRate = 921600;
  huart3.Init.WordLength = UART_WORDLENGTH_8B;
  huart3.Init.StopBits = UART_STOPBITS_1;
  huart3.Init.Parity = UART_PARITY_NONE;
  huart3.Init.Mode = UART_MODE_TX_RX;
  huart3.Init.HwFlowCtl = UART_HWCONTROL_NONE;
  huart3.Init.OverSampling = UART_OVERSAMPLING_16;
  if (HAL_UART_Init(&huart3) != HAL_OK)
  {
    Error_Handler();
  }

}

static void MX_DMA_Init(void)
{

  /* DMA controller clock enable */
  __HAL_RCC_DMA1_CLK_ENABLE();

  /* DMA interrupt init */
  /* DMA1_Stream1_IRQn interrupt configuration */
  HAL_NVIC_SetPriority(DMA1_Stream1_IRQn, 0, 0);
  HAL_NVIC_EnableIRQ(DMA1_Stream1_IRQn);
  /* DMA1_Stream3_IRQn interrupt configuration */
  HAL_NVIC_SetPriority(DMA1_Stream3_IRQn, 0, 0);
  HAL_NVIC_EnableIRQ(DMA1_Stream3_IRQn);

}

static void MX_GPIO_Init(void)
{
  GPIO_InitTypeDef GPIO_InitStruct = {0};

  /* GPIO Ports Clock Enable */
  __HAL_RCC_GPIOE_CLK_ENABLE();
  __HAL_RCC_GPIOC_CLK_ENABLE();
  __HAL_RCC_GPIOH_CLK_ENABLE();
  __HAL_RCC_GPIOA_CLK_ENABLE();
  __HAL_RCC_GPIOB_CLK_ENABLE();
  __HAL_RCC_GPIOD_CLK_ENABLE();

  /*Configure GPIO pin Output Level */
  HAL_GPIO_WritePin(CS_I2C_SPI_GPIO_Port, CS_I2C_SPI_Pin, GPIO_PIN_SET);

  /*Configure GPIO pin Output Level */
  HAL_GPIO_WritePin(GPIOE, M1_MBL_Pin|M1_MAL_Pin, GPIO_PIN_RESET);

  /*Configure GPIO pin Output Level */
  HAL_GPIO_WritePin(GPIOC, M0_MBL_Pin|M2_MAL_Pin, GPIO_PIN_RESET);

  /*Configure GPIO pin Output Level */
  HAL_GPIO_WritePin(GPIOB, CHARGE_EN_Pin|M2_MBL_Pin|SX1280_RST_Pin|M3_MBL_Pin
                          |M3_MAL_Pin, GPIO_PIN_RESET);

  /*Configure GPIO pin Output Level */
  HAL_GPIO_WritePin(GPIOD, CHIP_KICK_Pin|KICK_Pin|LD4_Pin|LD3_Pin
                          |LD5_Pin|LD6_Pin|USD_CS_Pin|Audio_RST_Pin
                          |M0_MAL_Pin, GPIO_PIN_RESET);

  /*Configure GPIO pin Output Level */
  HAL_GPIO_WritePin(SX1280_CSn_GPIO_Port, SX1280_CSn_Pin, GPIO_PIN_SET);

  /*Configure GPIO pins : Btn_Pin TX_Detect_Pin */
  GPIO_InitStruct.Pin = Btn_Pin|TX_Detect_Pin;
  GPIO_InitStruct.Mode = GPIO_MODE_INPUT;
  GPIO_InitStruct.Pull = GPIO_PULLUP;
  HAL_GPIO_Init(GPIOE, &GPIO_InitStruct);

  /*Configure GPIO pins : CS_I2C_SPI_Pin M1_MBL_Pin M1_MAL_Pin */
  GPIO_InitStruct.Pin = CS_I2C_SPI_Pin|M1_MBL_Pin|M1_MAL_Pin;
  GPIO_InitStruct.Mode = GPIO_MODE_OUTPUT_PP;
  GPIO_InitStruct.Pull = GPIO_NOPULL;
  GPIO_InitStruct.Speed = GPIO_SPEED_FREQ_LOW;
  HAL_GPIO_Init(GPIOE, &GPIO_InitStruct);

  /*Configure GPIO pins : M0_MBL_Pin M2_MAL_Pin */
  GPIO_InitStruct.Pin = M0_MBL_Pin|M2_MAL_Pin;
  GPIO_InitStruct.Mode = GPIO_MODE_OUTPUT_PP;
  GPIO_InitStruct.Pull = GPIO_NOPULL;
  GPIO_InitStruct.Speed = GPIO_SPEED_FREQ_LOW;
  HAL_GPIO_Init(GPIOC, &GPIO_InitStruct);

  /*Configure GPIO pin : SX1280_IRQ_Pin */
  GPIO_InitStruct.Pin = SX1280_IRQ_Pin;
  GPIO_InitStruct.Mode = GPIO_MODE_IT_RISING;
  GPIO_InitStruct.Pull = GPIO_NOPULL;
  HAL_GPIO_Init(SX1280_IRQ_GPIO_Port, &GPIO_InitStruct);

  /*Configure GPIO pins : CHARGE_EN_Pin M2_MBL_Pin SX1280_RST_Pin M3_MBL_Pin
                           M3_MAL_Pin */
  GPIO_InitStruct.Pin = CHARGE_EN_Pin|M2_MBL_Pin|SX1280_RST_Pin|M3_MBL_Pin
                          |M3_MAL_Pin;
  GPIO_InitStruct.Mode = GPIO_MODE_OUTPUT_PP;
  GPIO_InitStruct.Pull = GPIO_NOPULL;
  GPIO_InitStruct.Speed = GPIO_SPEED_FREQ_LOW;
  HAL_GPIO_Init(GPIOB, &GPIO_InitStruct);

  /*Configure GPIO pins : CHIP_KICK_Pin KICK_Pin LD4_Pin LD3_Pin
                           LD5_Pin LD6_Pin USD_CS_Pin Audio_RST_Pin
                           M0_MAL_Pin */
  GPIO_InitStruct.Pin = CHIP_KICK_Pin|KICK_Pin|LD4_Pin|LD3_Pin
                          |LD5_Pin|LD6_Pin|USD_CS_Pin|Audio_RST_Pin
                          |M0_MAL_Pin;
  GPIO_InitStruct.Mode = GPIO_MODE_OUTPUT_PP;
  GPIO_InitStruct.Pull = GPIO_NOPULL;
  GPIO_InitStruct.Speed = GPIO_SPEED_FREQ_LOW;
  HAL_GPIO_Init(GPIOD, &GPIO_InitStruct);

  /*Configure GPIO pin : SX1280_BUSY_Pin */
  GPIO_InitStruct.Pin = SX1280_BUSY_Pin;
  GPIO_InitStruct.Mode = GPIO_MODE_INPUT;
  GPIO_InitStruct.Pull = GPIO_NOPULL;
  HAL_GPIO_Init(SX1280_BUSY_GPIO_Port, &GPIO_InitStruct);

  /*Configure GPIO pin : SX1280_CSn_Pin */
  GPIO_InitStruct.Pin = SX1280_CSn_Pin;
  GPIO_InitStruct.Mode = GPIO_MODE_OUTPUT_PP;
  GPIO_InitStruct.Pull = GPIO_NOPULL;
  GPIO_InitStruct.Speed = GPIO_SPEED_FREQ_HIGH;
  HAL_GPIO_Init(SX1280_CSn_GPIO_Port, &GPIO_InitStruct);

  /*Configure GPIO pins : S1_Pin OTG_FS_OverCurrent_Pin */
  GPIO_InitStruct.Pin = S1_Pin|OTG_FS_OverCurrent_Pin;
  GPIO_InitStruct.Mode = GPIO_MODE_INPUT;
  GPIO_InitStruct.Pull = GPIO_NOPULL;
  HAL_GPIO_Init(GPIOD, &GPIO_InitStruct);

  /*Configure GPIO pin : MEMS_INT2_Pin */
  GPIO_InitStruct.Pin = MEMS_INT2_Pin;
  GPIO_InitStruct.Mode = GPIO_MODE_EVT_RISING;
  GPIO_InitStruct.Pull = GPIO_NOPULL;
  HAL_GPIO_Init(MEMS_INT2_GPIO_Port, &GPIO_InitStruct);

  /* EXTI interrupt init*/
  HAL_NVIC_SetPriority(EXTI9_5_IRQn, 1, 0);
  HAL_NVIC_EnableIRQ(EXTI9_5_IRQn);

}

void Error_Handler(void)
{
}
